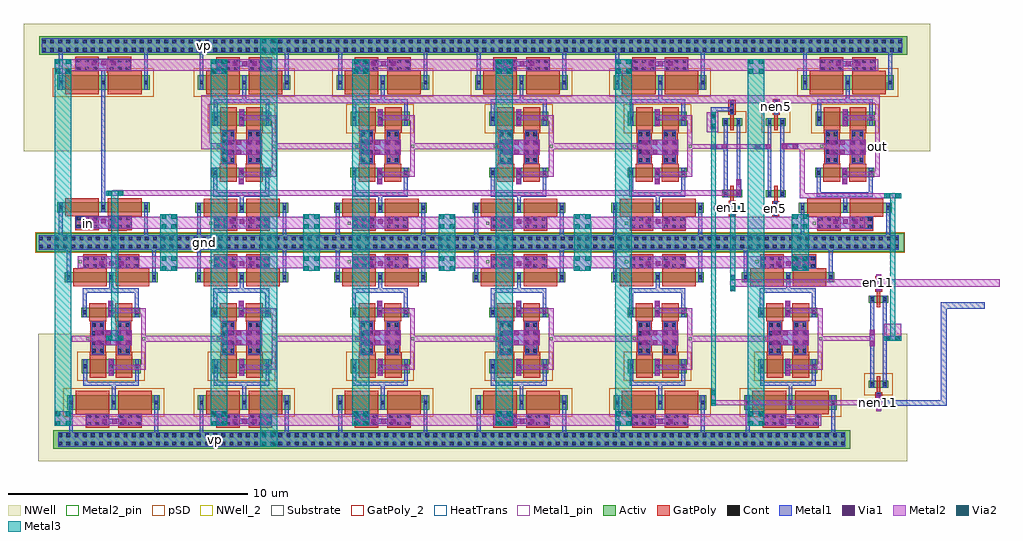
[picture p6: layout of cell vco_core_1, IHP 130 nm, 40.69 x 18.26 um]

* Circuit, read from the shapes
.subckt vco_core_1 en11 en5 gnd in nen11 nen5 out vp
XM1 vco_delay_cell_1_0/pgt in gnd gnd sg13_lv_nmos w=0.4u l=1.4u m=2
XM2 n1 in gnd gnd sg13_lv_nmos w=0.4u l=1.4u m=2
XM3 vco_delay_cell_1_74/in vco_delay_cell_1_75/in n1 gnd sg13_lv_nmos w=0.4u l=0.7u m=2
XM4 n2 in gnd gnd sg13_lv_nmos w=0.4u l=1.4u m=2
XM5 n3 in gnd gnd sg13_lv_nmos w=0.4u l=1.4u m=2
XM6 vco_delay_cell_1_4/in vco_delay_cell_1_74/in n2 gnd sg13_lv_nmos w=0.4u l=0.7u m=2
XM7 vco_delay_cell_1_73/in out n3 gnd sg13_lv_nmos w=0.4u l=0.7u m=2
XM8 n4 in gnd gnd sg13_lv_nmos w=0.4u l=1.4u m=2
XM9 n5 in gnd gnd sg13_lv_nmos w=0.4u l=1.4u m=2
XM10 vco_delay_cell_1_5/in vco_delay_cell_1_4/in n4 gnd sg13_lv_nmos w=0.4u l=0.7u m=2
XM11 vco_delay_cell_1_0/in vco_delay_cell_1_73/in n5 gnd sg13_lv_nmos w=0.4u l=0.7u m=2
XM12 n6 in gnd gnd sg13_lv_nmos w=0.4u l=1.4u m=2
XM13 n7 in gnd gnd sg13_lv_nmos w=0.4u l=1.4u m=2
XM14 vco_delay_cell_1_12/in vco_delay_cell_1_5/in n6 gnd sg13_lv_nmos w=0.4u l=0.7u m=2
XM15 vco_delay_cell_1_6/in vco_delay_cell_1_0/in n7 gnd sg13_lv_nmos w=0.4u l=0.7u m=2
XM16 n8 in gnd gnd sg13_lv_nmos w=0.4u l=1.4u m=2
XM17 n9 in gnd gnd sg13_lv_nmos w=0.4u l=1.4u m=2
XM18 vco_delay_cell_1_57/in vco_delay_cell_1_12/in n8 gnd sg13_lv_nmos w=0.4u l=0.7u m=2
XM19 vco_delay_cell_1_6/out vco_delay_cell_1_6/in n9 gnd sg13_lv_nmos w=0.4u l=0.7u m=2
XM20 vco_delay_cell_1_75/in en11 vco_delay_cell_1_6/out gnd sg13_lv_nmos w=0.3u l=0.15u
XM21 n10 in gnd gnd sg13_lv_nmos w=0.4u l=1.4u m=2
XM22 vco_delay_cell_1_57/out vco_delay_cell_1_57/in n10 gnd sg13_lv_nmos w=0.4u l=0.7u m=2
XM23 vco_delay_cell_1_9/in en5 vco_delay_cell_1_6/out gnd sg13_lv_nmos w=0.3u l=0.15u
XM24 n11 in gnd gnd sg13_lv_nmos w=0.4u l=1.4u m=2
XM25 out vco_delay_cell_1_9/in n11 gnd sg13_lv_nmos w=0.4u l=0.7u m=2
XM26 vco_delay_cell_1_9/in en11 vco_delay_cell_1_57/out gnd sg13_lv_nmos w=0.3u l=0.15u
XM27 vco_delay_cell_1_0/pgt vco_delay_cell_1_0/pgt vp vp sg13_lv_pmos w=0.6u l=1.4u m=2
XM28 n12 vco_delay_cell_1_0/pgt vp vp sg13_lv_pmos w=0.6u l=1.4u m=2
XM29 vco_delay_cell_1_74/in vco_delay_cell_1_75/in n12 vp sg13_lv_pmos w=0.6u l=0.7u m=2
XM30 n13 vco_delay_cell_1_0/pgt vp vp sg13_lv_pmos w=0.6u l=1.4u m=2
XM31 n14 vco_delay_cell_1_0/pgt vp vp sg13_lv_pmos w=0.6u l=1.4u m=2
XM32 vco_delay_cell_1_4/in vco_delay_cell_1_74/in n13 vp sg13_lv_pmos w=0.6u l=0.7u m=2
XM33 vco_delay_cell_1_73/in out n14 vp sg13_lv_pmos w=0.6u l=0.7u m=2
XM34 n15 vco_delay_cell_1_0/pgt vp vp sg13_lv_pmos w=0.6u l=1.4u m=2
XM35 n16 vco_delay_cell_1_0/pgt vp vp sg13_lv_pmos w=0.6u l=1.4u m=2
XM36 vco_delay_cell_1_5/in vco_delay_cell_1_4/in n15 vp sg13_lv_pmos w=0.6u l=0.7u m=2
XM37 vco_delay_cell_1_0/in vco_delay_cell_1_73/in n16 vp sg13_lv_pmos w=0.6u l=0.7u m=2
XM38 n17 vco_delay_cell_1_0/pgt vp vp sg13_lv_pmos w=0.6u l=1.4u m=2
XM39 n18 vco_delay_cell_1_0/pgt vp vp sg13_lv_pmos w=0.6u l=1.4u m=2
XM40 vco_delay_cell_1_12/in vco_delay_cell_1_5/in n17 vp sg13_lv_pmos w=0.6u l=0.7u m=2
XM41 vco_delay_cell_1_6/in vco_delay_cell_1_0/in n18 vp sg13_lv_pmos w=0.6u l=0.7u m=2
XM42 n19 vco_delay_cell_1_0/pgt vp vp sg13_lv_pmos w=0.6u l=1.4u m=2
XM43 n20 vco_delay_cell_1_0/pgt vp vp sg13_lv_pmos w=0.6u l=1.4u m=2
XM44 vco_delay_cell_1_57/in vco_delay_cell_1_12/in n19 vp sg13_lv_pmos w=0.6u l=0.7u m=2
XM45 vco_delay_cell_1_6/out vco_delay_cell_1_6/in n20 vp sg13_lv_pmos w=0.6u l=0.7u m=2
XM46 vco_delay_cell_1_75/in nen11 vco_delay_cell_1_6/out vp sg13_lv_pmos w=0.3u l=0.15u
XM47 n21 vco_delay_cell_1_0/pgt vp vp sg13_lv_pmos w=0.6u l=1.4u m=2
XM48 vco_delay_cell_1_57/out vco_delay_cell_1_57/in n21 vp sg13_lv_pmos w=0.6u l=0.7u m=2
XM49 vco_delay_cell_1_9/in nen5 vco_delay_cell_1_6/out vp sg13_lv_pmos w=0.3u l=0.15u
XM50 n22 vco_delay_cell_1_0/pgt vp vp sg13_lv_pmos w=0.6u l=1.4u m=2
XM51 out vco_delay_cell_1_9/in n22 vp sg13_lv_pmos w=0.6u l=0.7u m=2
XM52 vco_delay_cell_1_9/in nen11 vco_delay_cell_1_57/out vp sg13_lv_pmos w=0.3u l=0.15u
.ends

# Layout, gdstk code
from math import pi, radians
import gdstk
lib = gdstk.Library(unit=1e-6, precision=1e-09)
def R(c, l, rs):  # rectangles x0, y0, x1, y1
    for r in rs: c.add(gdstk.rectangle(r[:2], r[2:], *l))
def A(c, l, x, y, w, h, nx, ny, dx, dy):  # array of equal rectangles
    R(c, l, [(x+i*dx, y+j*dy, x+i*dx+w, y+j*dy+h) for i in range(nx) for j in range(ny)])
Activ = (1, 0)
GatPoly = (5, 0)
GatPoly_2 = (5, 2)
Cont = (6, 0)
Metal1 = (8, 0)
Metal1_pin = (8, 2)
Metal2 = (10, 0)
Metal2_pin = (10, 2)
pSD = (14, 0)
Via1 = (19, 0)
Via2 = (29, 0)
Metal3 = (30, 0)
NWell = (31, 0)
NWell_2 = (31, 2)
Substrate = (40, 0)
HeatTrans = (51, 0)

via_5 = lib.new_cell('Via$5')
R(via_5, GatPoly, [(-0.49,-0.32,0.49,0.32)])
A(via_5, Cont, -0.42, -0.25, 0.16, 0.16, 3, 2, 0.34, 0.34)
R(via_5, Metal1, [(-0.47,-0.25,0.47,0.25)])

via_1_4 = lib.new_cell('Via$1$4')
R(via_1_4, Metal1, [(-0.105,-0.555,0.105,0.555)])
R(via_1_4, Metal2, [(-0.1,-0.555,0.1,0.555)])
A(via_1_4, Via1, -0.095, -0.505, 0.19, 0.19, 1, 3, 0, 0.41)

via_2_11 = lib.new_cell('Via$2$11')
R(via_2_11, Metal1, [(-0.105,-0.35,0.105,0.35)])
R(via_2_11, Metal2, [(-0.1,-0.35,0.1,0.35)])
R(via_2_11, Via1, [(-0.095,-0.3,0.095,-0.11), (-0.095,0.11,0.095,0.3)])

via_6 = lib.new_cell('Via$6')
R(via_6, Metal1, [(-0.31,-0.76,0.31,0.76)])
R(via_6, Metal2, [(-0.305,-0.76,0.305,0.76)])
A(via_6, Via1, -0.3, -0.71, 0.19, 0.19, 1, 4, 0, 0.41)
A(via_6, Via1, 0.11, -0.71, 0.19, 0.19, 1, 4, 0, 0.41)

via_17_2 = lib.new_cell('Via$17$2')
R(via_17_2, GatPoly, [(-0.32,-0.32,0.32,0.32)])
R(via_17_2, Cont, [(-0.25,-0.25,-0.09,-0.09), (0.09,-0.25,0.25,-0.09), (-0.25,0.09,-0.09,0.25), (0.09,0.09,0.25,0.25)])
R(via_17_2, Metal1, [(-0.3,-0.25,0.3,0.25)])

ptap1_5 = lib.new_cell('ptap1$5')
R(ptap1_5, Activ, [(0,0,5,0.78)])
A(ptap1_5, Cont, 0.21, 0.14, 0.16, 0.16, 14, 2, 0.34, 0.34)
R(ptap1_5, Metal1, [(0.21,0.09,4.79,0.69), (0.21,0.14,4.79,0.64)])
R(ptap1_5, Metal1_pin, [(0.21,0.14,4.79,0.64)])
R(ptap1_5, pSD, [(-0.03,-0.03,5.03,0.81)])
R(ptap1_5, Substrate, [(0,0,5,0.78)])
ptap1_5.add(gdstk.Label('sub!', (2.5,0.01), layer=63, texttype=0))
ptap1_5.add(gdstk.Label('sub!', (2.5,0.01), layer=40, texttype=0))

ntap1_3 = lib.new_cell('ntap1$3')
R(ntap1_3, Activ, [(0,0,5,0.78)])
A(ntap1_3, Cont, 0.21, 0.14, 0.16, 0.16, 14, 2, 0.34, 0.34)
R(ntap1_3, Metal1, [(0.21,0.09,4.79,0.69)])
R(ntap1_3, Metal1_pin, [(0.21,0.09,4.79,0.69), (0.21,0.14,4.79,0.64)])
R(ntap1_3, NWell, [(-0.24,-0.24,5.24,1.02), (0,0,5,0.78)])
R(ntap1_3, NWell_2, [(0,0,5,0.78)])
ntap1_3.add(gdstk.Label('well', (2.5,0.01), layer=63, texttype=0))
ntap1_3.add(gdstk.Label('well', (2.5,0.01), layer=31, texttype=0))

nmos_2_1_1 = lib.new_cell('nmos$2$1$1')
A(nmos_2_1_1, Activ, 0, 0, 0.3, 0.3, 3, 1, 1.78, 0)
R(nmos_2_1_1, Activ, [(0,0,3.86,0.4)])
R(nmos_2_1_1, GatPoly, [(0.34,-0.18,1.74,0.58), (2.12,-0.18,3.52,0.58)])
R(nmos_2_1_1, GatPoly_2, [(0.34,-0.18,1.74,0.58)])
A(nmos_2_1_1, Cont, 0.07, 0.12, 0.16, 0.16, 3, 1, 1.78, 0)
A(nmos_2_1_1, Metal1, 0.07, 0, 0.16, 0.4, 3, 1, 1.78, 0)
R(nmos_2_1_1, Metal1_pin, [(0.07,0,0.23,0.4), (1.85,0,2.01,0.4)])
R(nmos_2_1_1, HeatTrans, [(0.34,-0.18,1.74,0.58), (2.12,-0.18,3.52,0.58)])
nmos_2_1_1.add(gdstk.Label('nmos', (1.04,0.2), layer=63, texttype=0))
nmos_2_1_1.add(gdstk.Label('nmos', (1.04,0.2), layer=51, texttype=0))
nmos_2_1_1.add(gdstk.Label('nmos', (2.82,0.2), layer=51, texttype=0))

nmos_3_6 = lib.new_cell('nmos$3$6')
A(nmos_3_6, Activ, 0, 0, 0.3, 0.3, 3, 1, 1.08, 0)
R(nmos_3_6, Activ, [(0,0,2.46,0.4)])
R(nmos_3_6, GatPoly, [(0.34,-0.18,1.04,0.58), (1.42,-0.18,2.12,0.58)])
R(nmos_3_6, GatPoly_2, [(0.34,-0.18,1.04,0.58)])
A(nmos_3_6, Cont, 0.07, 0.12, 0.16, 0.16, 3, 1, 1.08, 0)
A(nmos_3_6, Metal1, 0.07, 0, 0.16, 0.4, 3, 1, 1.08, 0)
R(nmos_3_6, Metal1_pin, [(0.07,0,0.23,0.4), (1.15,0,1.31,0.4)])
R(nmos_3_6, HeatTrans, [(0.34,-0.18,1.04,0.58), (1.42,-0.18,2.12,0.58)])
nmos_3_6.add(gdstk.Label('nmos', (0.69,0.2), layer=63, texttype=0))
nmos_3_6.add(gdstk.Label('nmos', (0.69,0.2), layer=51, texttype=0))
nmos_3_6.add(gdstk.Label('nmos', (1.77,0.2), layer=51, texttype=0))

pmos_3_7 = lib.new_cell('pmos$3$7')
A(pmos_3_7, Activ, 0, 0, 0.3, 0.3, 3, 1, 1.78, 0)
R(pmos_3_7, Activ, [(0,0,3.86,0.6)])
R(pmos_3_7, GatPoly, [(0.34,-0.18,1.74,0.78), (0.34,-0.18,1.74,0.78), (2.12,-0.18,3.52,0.78)])
A(pmos_3_7, Cont, 0.07, 0.22, 0.16, 0.16, 3, 1, 1.78, 0)
R(pmos_3_7, Metal1, [(0.07,0,0.23,0.6), (0.07,0,0.23,0.6), (1.85,0,2.01,0.6), (1.85,0,2.01,0.6), (3.63,0,3.79,0.6)])
R(pmos_3_7, pSD, [(-0.18,-0.3,4.04,0.9)])
R(pmos_3_7, NWell, [(-0.31,-0.31,4.17,0.91)])
R(pmos_3_7, Substrate, [(3.56,0,3.86,0.3)])
R(pmos_3_7, HeatTrans, [(0.34,-0.18,1.74,0.78), (2.12,-0.18,3.52,0.78)])
pmos_3_7.add(gdstk.Label('pmos', (1.04,0.3), layer=63, texttype=0))
pmos_3_7.add(gdstk.Label('pmos', (1.04,0.3), layer=51, texttype=0))
pmos_3_7.add(gdstk.Label('pmos', (2.82,0.3), layer=51, texttype=0))

pmos_2_1 = lib.new_cell('pmos$2$1')
A(pmos_2_1, Activ, 0, 0, 0.3, 0.3, 3, 1, 1.08, 0)
R(pmos_2_1, Activ, [(0,0,2.46,0.6)])
R(pmos_2_1, GatPoly, [(0.34,-0.18,1.04,0.78), (0.34,-0.18,1.04,0.78), (1.42,-0.18,2.12,0.78)])
A(pmos_2_1, Cont, 0.07, 0.22, 0.16, 0.16, 3, 1, 1.08, 0)
R(pmos_2_1, Metal1, [(0.07,0,0.23,0.6), (0.07,0,0.23,0.6), (1.15,0,1.31,0.6), (1.15,0,1.31,0.6), (2.23,0,2.39,0.6)])
R(pmos_2_1, pSD, [(-0.18,-0.3,2.64,0.9)])
R(pmos_2_1, NWell, [(-0.31,-0.31,2.77,0.91)])
R(pmos_2_1, Substrate, [(2.16,0,2.46,0.3)])
R(pmos_2_1, HeatTrans, [(0.34,-0.18,1.04,0.78), (1.42,-0.18,2.12,0.78)])
pmos_2_1.add(gdstk.Label('pmos', (0.69,0.3), layer=63, texttype=0))
pmos_2_1.add(gdstk.Label('pmos', (0.69,0.3), layer=51, texttype=0))
pmos_2_1.add(gdstk.Label('pmos', (1.77,0.3), layer=51, texttype=0))

vco_delay_cell_1 = lib.new_cell('vco_delay_cell_1')
R(vco_delay_cell_1, GatPoly, [(-0.14,-3.32,-0.07,-2.75), (-0.19,-0.09,0.45,0.25), (0.88,-0.03,1.52,0.41), (-0.21,0.78,0.49,0.86), (0.87,0.78,1.57,0.86), (-0.02,3.26,0.05,3.83)])
R(vco_delay_cell_1, Metal1, [(2.4,-4.12,2.55,-3.62), (2.39,-3.62,2.55,-2.57), (-1.17,-3.6,-1.01,-2.57), (0.42,-3.25,0.94,-2.75), (0.54,-3.25,0.88,-2.75), (0.61,-2.17,0.77,-1.89), (-0.49,-1.92,0.04,-1.72), (-0.01,-1.92,1.55,-1.72), (1.55,-1.92,1.83,-1.72), (1.67,-1.78,1.83,-1.42), (-0.49,-1.73,-0.33,-1.42), (1.67,-1.52,1.83,-1.3), (-0.49,-1.51,-0.33,-1.33), (1.67,-1.48,1.83,-1.11), (-0.49,-1.38,-0.33,-1.11), (0.95,-0.35,1.45,0.13), (-0.12,-0.34,0.38,0.13), (-0.12,-0.04,0.13,0.23), (1.24,0.09,1.45,0.23), (-0.48,1.63,-0.32,2.04), (1.68,1.63,1.84,2.05), (-0.48,1.99,0.03,2.15), (0,1.99,1.56,2.15), (1.56,1.99,1.84,2.15), (0.71,2.05,0.87,2.5), (0.71,2.38,0.87,2.55), (-1.07,3.15,-0.91,4.02), (2.49,3.15,2.65,4.02), (0.98,3.33,1.1,3.83), (1.1,3.33,1.44,3.83), (-1.07,4.02,-0.91,4.26), (2.49,4.02,2.65,4.26)])
R(vco_delay_cell_1, Metal1_pin, [(0.705,-3.875,0.835,-3.745), (0.335,4.285,0.465,4.415)])
R(vco_delay_cell_1, Metal2, [(-0.71,-3.25,-0.12,-2.75), (-0.12,-3.25,1.5,-2.75), (0.7,-1.07,2,-0.87), (1.93,-1.07,2.13,0.57), (1.93,-0.16,2.13,1.48), (-0.96,0.07,1.37,0.32), (0.74,1.28,2.04,1.48), (-0.14,3.33,0.45,3.83), (0.44,3.33,2.06,3.83)])
R(vco_delay_cell_1, Metal2_pin, [(-0.675,-3.075,-0.545,-2.945), (1.975,0.13,2.105,0.26), (-0.355,0.135,-0.225,0.265), (-0.055,3.525,0.075,3.655)])
R(vco_delay_cell_1, NWell, [(-2.36,-0.01,4.24,0.3), (-1.56,0.29,2.98,5.31), (-2.36,0.3,4.24,5.3)])
vco_delay_cell_1.add(gdstk.Reference(via_5, (0.11,3.58)))
vco_delay_cell_1.add(gdstk.Reference(via_5, (1.47,3.58)))
vco_delay_cell_1.add(gdstk.Reference(via_1_4, (0.815,3.64), rotation=pi/2))
vco_delay_cell_1.add(gdstk.Reference(via_1_4, (0.695,-2.94), rotation=pi/2))
vco_delay_cell_1.add(gdstk.Reference(via_5, (1.37,-3)))
vco_delay_cell_1.add(gdstk.Reference(via_5, (0.01,-3)))
vco_delay_cell_1.add(gdstk.Reference(via_2_11, (0.67,-1.05)))
vco_delay_cell_1.add(gdstk.Reference(via_2_11, (0.68,1.38)))
vco_delay_cell_1.add(gdstk.Reference(via_6, (0.785,0.15), rotation=pi/2))
vco_delay_cell_1.add(gdstk.Reference(via_17_2, (1.2,-0.21), rotation=pi/2))
vco_delay_cell_1.add(gdstk.Reference(via_17_2, (0.13,-0.21), rotation=pi/2))
vco_delay_cell_1.add(gdstk.Reference(via_17_2, (1.2,0.53), rotation=pi/2))
vco_delay_cell_1.add(gdstk.Reference(via_17_2, (0.13,0.53), rotation=pi/2))
vco_delay_cell_1.add(gdstk.Reference(ptap1_5, (-1.86,-4.21)))
vco_delay_cell_1.add(gdstk.Reference(ntap1_3, (-1.73,4)))
vco_delay_cell_1.add(gdstk.Reference(nmos_2_1_1, (-1.24,-2.57)))
vco_delay_cell_1.add(gdstk.Reference(nmos_3_6, (-0.56,-1.11)))
vco_delay_cell_1.add(gdstk.Reference(pmos_3_7, (-1.14,2.55)))
vco_delay_cell_1.add(gdstk.Reference(pmos_2_1, (-0.55,1.04)))
vco_delay_cell_1.add(gdstk.Label('pgt', (0.01,3.59), layer=10, texttype=25))
vco_delay_cell_1.add(gdstk.Label('ngt', (-0.61,-3.01), layer=10, texttype=25))
vco_delay_cell_1.add(gdstk.Label('out', (2.04,0.18), layer=10, texttype=25))
vco_delay_cell_1.add(gdstk.Label('in', (-0.29,0.2), layer=10, texttype=25))
vco_delay_cell_1.add(gdstk.Label('vp', (0.84,4.35), layer=8, texttype=25))
vco_delay_cell_1.add(gdstk.Label('gnd', (0.77,-3.81), layer=8, texttype=25))

ptap1_2 = lib.new_cell('ptap1$2')
R(ptap1_2, Activ, [(0,0,2,0.78)])
A(ptap1_2, Cont, 0.07, 0.14, 0.16, 0.16, 6, 2, 0.34, 0.34)
R(ptap1_2, Metal1, [(0.07,0.09,1.93,0.69), (0.07,0.14,1.93,0.64)])
R(ptap1_2, Metal1_pin, [(0.07,0.14,1.93,0.64)])
R(ptap1_2, pSD, [(-0.03,-0.03,2.03,0.81)])
R(ptap1_2, Substrate, [(0,0,2,0.78)])
ptap1_2.add(gdstk.Label('sub!', (1,0.01), layer=63, texttype=0))
ptap1_2.add(gdstk.Label('sub!', (1,0.01), layer=40, texttype=0))

ntap1_2_7 = lib.new_cell('ntap1$2$7')
R(ntap1_2_7, Activ, [(0,0,2,0.78)])
A(ntap1_2_7, Cont, 0.07, 0.14, 0.16, 0.16, 6, 2, 0.34, 0.34)
R(ntap1_2_7, Metal1, [(0.07,0.09,1.93,0.69)])
R(ntap1_2_7, Metal1_pin, [(0.07,0.09,1.93,0.69), (0.07,0.14,1.93,0.64)])
R(ntap1_2_7, NWell, [(-0.24,-0.24,2.24,1.02), (0,0,2,0.78)])
R(ntap1_2_7, NWell_2, [(0,0,2,0.78)])
ntap1_2_7.add(gdstk.Label('well', (1,0.01), layer=63, texttype=0))
ntap1_2_7.add(gdstk.Label('well', (1,0.01), layer=31, texttype=0))

ptap1 = lib.new_cell('ptap1')
R(ptap1, Activ, [(0,0,6.5,0.78)])
A(ptap1, Cont, 0.11, 0.14, 0.16, 0.16, 19, 2, 0.34, 0.34)
R(ptap1, Metal1, [(0.11,0.09,6.39,0.69), (0.11,0.14,6.39,0.64)])
R(ptap1, Metal1_pin, [(0.11,0.14,6.39,0.64)])
R(ptap1, pSD, [(-0.03,-0.03,6.53,0.81)])
R(ptap1, Substrate, [(0,0,6.5,0.78)])
ptap1.add(gdstk.Label('sub!', (3.25,0.01), layer=63, texttype=0))
ptap1.add(gdstk.Label('sub!', (3.25,0.01), layer=40, texttype=0))

pmos_7_2 = lib.new_cell('pmos$7$2')
A(pmos_7_2, Activ, 0, 0, 0.3, 0.3, 3, 1, 1.78, 0)
R(pmos_7_2, Activ, [(0,0,3.86,0.6)])
R(pmos_7_2, GatPoly, [(0.34,-0.18,1.74,0.78), (0.34,-0.18,1.74,0.78), (2.12,-0.18,3.52,0.78)])
A(pmos_7_2, Cont, 0.07, 0.22, 0.16, 0.16, 3, 1, 1.78, 0)
R(pmos_7_2, Metal1, [(0.07,0,0.23,0.6), (0.07,0,0.23,0.6), (1.85,0,2.01,0.6), (1.85,0,2.01,0.6), (3.63,0,3.79,0.6)])
R(pmos_7_2, pSD, [(-0.18,-0.3,4.04,0.9)])
R(pmos_7_2, NWell, [(-0.31,-0.31,4.17,0.91)])
R(pmos_7_2, HeatTrans, [(0.34,-0.18,1.74,0.78), (2.12,-0.18,3.52,0.78)])
pmos_7_2.add(gdstk.Label('pmos', (1.04,0.3), layer=63, texttype=0))
pmos_7_2.add(gdstk.Label('pmos', (1.04,0.3), layer=51, texttype=0))
pmos_7_2.add(gdstk.Label('pmos', (2.82,0.3), layer=51, texttype=0))

ntap1 = lib.new_cell('ntap1')
R(ntap1, Activ, [(0,0,6.5,0.78)])
A(ntap1, Cont, 0.11, 0.14, 0.16, 0.16, 19, 2, 0.34, 0.34)
R(ntap1, Metal1, [(0.11,0.09,6.39,0.69)])
R(ntap1, Metal1_pin, [(0.11,0.09,6.39,0.69), (0.11,0.14,6.39,0.64)])
R(ntap1, NWell, [(-0.24,-0.24,6.74,1.02), (0,0,6.5,0.78)])
R(ntap1, NWell_2, [(0,0,6.5,0.78)])
ntap1.add(gdstk.Label('well', (3.25,0.01), layer=63, texttype=0))
ntap1.add(gdstk.Label('well', (3.25,0.01), layer=31, texttype=0))

nmos_7_3 = lib.new_cell('nmos$7$3')
A(nmos_7_3, Activ, 0, 0, 0.3, 0.3, 3, 1, 1.78, 0)
R(nmos_7_3, Activ, [(0,0,3.86,0.4)])
R(nmos_7_3, GatPoly, [(0.34,-0.18,1.74,0.58), (2.12,-0.18,3.52,0.58)])
R(nmos_7_3, GatPoly_2, [(0.34,-0.18,1.74,0.58)])
A(nmos_7_3, Cont, 0.07, 0.12, 0.16, 0.16, 3, 1, 1.78, 0)
A(nmos_7_3, Metal1, 0.07, 0, 0.16, 0.4, 3, 1, 1.78, 0)
R(nmos_7_3, Metal1_pin, [(0.07,0,0.23,0.4), (1.85,0,2.01,0.4)])
R(nmos_7_3, HeatTrans, [(0.34,-0.18,1.74,0.58), (2.12,-0.18,3.52,0.58)])
nmos_7_3.add(gdstk.Label('nmos', (1.04,0.2), layer=63, texttype=0))
nmos_7_3.add(gdstk.Label('nmos', (1.04,0.2), layer=51, texttype=0))
nmos_7_3.add(gdstk.Label('nmos', (2.82,0.2), layer=51, texttype=0))

via_4 = lib.new_cell('Via$4')
R(via_4, Metal1, [(-0.105,-0.555,0.105,0.555)])
R(via_4, Metal2, [(-0.1,-0.555,0.1,0.555)])
A(via_4, Via1, -0.095, -0.505, 0.19, 0.19, 1, 3, 0, 0.41)

via_8 = lib.new_cell('Via$8')
R(via_8, GatPoly, [(-0.49,-0.32,0.49,0.32)])
A(via_8, Cont, -0.42, -0.25, 0.16, 0.16, 3, 2, 0.34, 0.34)
R(via_8, Metal1, [(-0.47,-0.25,0.47,0.25)])

via_9 = lib.new_cell('Via$9')
R(via_9, Metal2, [(-0.35,-0.305,0.35,0.305)])
R(via_9, Via2, [(-0.3,-0.3,-0.11,-0.11), (0.11,-0.3,0.3,-0.11), (-0.3,0.11,-0.11,0.3), (0.11,0.11,0.3,0.3)])
R(via_9, Metal3, [(-0.35,-0.305,0.35,0.305)])

nmos_21 = lib.new_cell('nmos$21')
R(nmos_21, Activ, [(0,0,0.3,0.3), (0,0,0.83,0.3), (0.53,0,0.83,0.3)])
R(nmos_21, GatPoly, [(0.34,-0.18,0.49,0.48)])
R(nmos_21, GatPoly_2, [(0.34,-0.18,0.49,0.48)])
R(nmos_21, Cont, [(0.07,0.07,0.23,0.23), (0.6,0.07,0.76,0.23)])
R(nmos_21, Metal1, [(0.07,0,0.23,0.3), (0.6,0,0.76,0.3)])
R(nmos_21, Metal1_pin, [(0.07,0,0.23,0.3), (0.6,0,0.76,0.3)])
R(nmos_21, HeatTrans, [(0.34,-0.18,0.49,0.48)])
nmos_21.add(gdstk.Label('nmos', (0.415,0.15), layer=63, texttype=0))
nmos_21.add(gdstk.Label('nmos', (0.415,0.15), layer=51, texttype=0))

pmos = lib.new_cell('pmos')
R(pmos, Activ, [(0,0,0.3,0.3), (0,0,0.83,0.3), (0.53,0,0.83,0.3)])
R(pmos, GatPoly, [(0.34,-0.18,0.49,0.48), (0.34,-0.18,0.49,0.48)])
R(pmos, Cont, [(0.07,0.07,0.23,0.23), (0.6,0.07,0.76,0.23)])
R(pmos, Metal1, [(0.07,0,0.23,0.3), (0.07,0,0.23,0.3), (0.6,0,0.76,0.3), (0.6,0,0.76,0.3)])
R(pmos, pSD, [(-0.18,-0.3,1.01,0.6)])
R(pmos, NWell, [(-0.31,-0.31,1.14,0.61)])
R(pmos, HeatTrans, [(0.34,-0.18,0.49,0.48)])
pmos.add(gdstk.Label('pmos', (0.415,0.15), layer=63, texttype=0))
pmos.add(gdstk.Label('pmos', (0.415,0.15), layer=51, texttype=0))

via_11_4 = lib.new_cell('Via$11$4')
R(via_11_4, Metal1, [(-0.35,-0.105,0.35,0.105)])
R(via_11_4, Metal2, [(-0.35,-0.1,0.35,0.1)])
R(via_11_4, Via1, [(-0.3,-0.095,-0.11,0.095), (0.11,-0.095,0.3,0.095)])

via_13_6 = lib.new_cell('Via$13$6')
R(via_13_6, GatPoly, [(-0.15,-0.32,0.15,0.32)])
R(via_13_6, Cont, [(-0.08,-0.25,0.08,-0.09), (-0.08,0.09,0.08,0.25)])
R(via_13_6, Metal1, [(-0.08,-0.3,0.08,0.3)])

via_76 = lib.new_cell('Via$76')
R(via_76, Metal2, [(-0.35,-0.1,0.35,0.1)])
R(via_76, Via2, [(-0.3,-0.095,-0.11,0.095), (0.11,-0.095,0.3,0.095)])
R(via_76, Metal3, [(-0.35,-0.1,0.35,0.1)])

ntap1_6_6 = lib.new_cell('ntap1$6$6')
R(ntap1_6_6, Activ, [(0,0,5,0.78)])
A(ntap1_6_6, Cont, 0.21, 0.14, 0.16, 0.16, 14, 2, 0.34, 0.34)
R(ntap1_6_6, Metal1, [(0.21,0.09,4.79,0.69)])
R(ntap1_6_6, Metal1_pin, [(0.21,0.09,4.79,0.69), (0.21,0.14,4.79,0.64)])
R(ntap1_6_6, NWell, [(-0.24,-0.24,5.24,1.02), (0,0,5,0.78)])
R(ntap1_6_6, NWell_2, [(0,0,5,0.78)])
ntap1_6_6.add(gdstk.Label('well', (2.5,0.01), layer=63, texttype=0))
ntap1_6_6.add(gdstk.Label('well', (2.5,0.01), layer=31, texttype=0))

via_12_13 = lib.new_cell('Via$12$13')
R(via_12_13, Metal1, [(-0.105,-0.35,0.105,0.35)])
R(via_12_13, Metal2, [(-0.1,-0.35,0.1,0.35)])
R(via_12_13, Via1, [(-0.095,-0.3,0.095,-0.11), (-0.095,0.11,0.095,0.3)])

via_16_12 = lib.new_cell('Via$16$12')
R(via_16_12, Metal1, [(-0.35,-0.31,0.35,0.31)])
R(via_16_12, Metal2, [(-0.35,-0.305,0.35,0.305)])
R(via_16_12, Via1, [(-0.3,-0.3,-0.11,-0.11), (0.11,-0.3,0.3,-0.11), (-0.3,0.11,-0.11,0.3), (0.11,0.11,0.3,0.3)])

vco_core_1 = lib.new_cell('vco_core_1')
R(vco_core_1, GatPoly, [(-12.085,-3.32,-11.385,-2.75), (-11.525,-3.32,-11.315,-2.75), (-13.11,3.26,-13.04,3.83), (-12.15,3.26,-11.45,3.83), (-11.58,3.3,-11.38,3.9), (-13.2,3.33,-13.03,3.9)])
R(vco_core_1, Metal1, [(19.97,-10.635,22.88,-10.405), (22.625,-10.635,22.88,-6.305), (19.68,-9.73,19.84,-6.19), (20.21,-9.73,20.37,-6.19), (22.625,-6.58,24.46,-6.305), (-14.15,-3.82,-13.99,-2.47), (-10.59,-3.79,-10.43,-2.46), (-12.43,-3.25,-12.09,-2.75), (-12.58,-3.23,-12.075,-2.73), (-12.37,-2.55,-12.21,1.37), (13.58,-1.88,13.74,1.2), (15.93,-1.86,16.09,1.2), (15.4,-1.835,15.56,1.2), (14.11,-1.83,14.27,1.2), (-12.37,-1.25,-12.21,2.67), (13.035,1.55,13.245,1.825), (13.13,1.645,13.94,1.825), (-14.15,3.15,-13.99,4.54), (-12.37,3.15,-12.21,3.5), (-10.59,3.15,-10.43,4.3), (-12.46,3.33,-12.39,3.535), (-12.43,3.33,-12.09,3.83), (-12.68,3.35,-12.08,3.85), (-12.47,3.71,-12.4,3.83)])
R(vco_core_1, Metal1_pin, [(-7.675,-12.115,-7.545,-11.985), (19.975,-10.545,20.105,-10.415), (19.975,-5.545,20.105,-5.415), (-8.135,-3.905,-8.005,-3.775), (15.675,-2.475,15.805,-2.345), (13.865,-2.425,13.995,-2.295), (15.695,1.805,15.825,1.935), (-8.135,4.335,-8.005,4.465)])
R(vco_core_1, Metal2, [(-13.97,-11.47,-12.51,-10.97), (-11.65,-11.47,15.57,-10.97), (13.19,-10.61,20.08,-10.39), (-10.64,-7.96,-8.17,-7.71), (-5.17,-7.96,-2.39,-7.71), (0.6,-7.96,3.39,-7.71), (6.37,-7.96,9.41,-7.71), (12.14,-7.96,14.7,-7.71), (17.545,-7.92,19.75,-7.72), (20.27,-7.72,20.97,-7.21), (14.015,-5.675,25.07,-5.355), (-12.3,-4.89,15.11,-4.39), (-13.09,-3.25,-11.47,-2.75), (-11.88,-3.25,-10.55,-2.75), (-10.55,-3.25,19.3,-2.75), (-6.2,-3.25,-2.27,-2.75), (-0.53,-3.25,3.89,-2.75), (5.07,-3.25,9.67,-2.75), (10.9,-3.25,17.535,-2.75), (13.16,-2.485,13.565,-2.285), (17.18,-1.97,20.97,-1.77), (-8.21,0.07,-7.85,2.31), (-5.17,0.07,-2.04,0.32), (0.675,0.07,3.66,0.32), (6.39,0.07,9.23,0.32), (15.99,0.07,17.42,0.32), (12.105,0.08,14.94,0.28), (12.865,0.775,13.335,1.615), (19.88,1.48,20.08,2.31), (-8.21,1.99,20.08,2.31), (-14.08,3.33,-13.15,3.83), (-13.26,3.33,-13.02,3.83), (-13.09,3.33,-11.47,3.83), (-11.61,3.33,18.35,3.83), (-6.17,3.33,-2.19,3.83), (-0.27,3.33,3.61,3.83), (5.32,3.33,9.95,3.83), (10.88,3.33,19.97,3.83)])
R(vco_core_1, Metal2_pin, [(-12.985,-3.085,-12.855,-2.955), (-13.045,-3.065,-12.915,-2.935), (19.925,0.125,20.055,0.255)])
A(vco_core_1, Metal3, -3.96, -4.81, 0.7, 1.87, 3, 1, 5.65, 0)
R(vco_core_1, Metal3, [(-5.745,-11.715,-5.045,4.14), (-14.32,-10.965,-13.62,3.46), (-7.82,-10.965,-7.12,3.46), (-1.91,-10.965,-1.21,3.46), (4.07,-10.965,4.77,3.46), (9.04,-10.965,9.74,3.46), (14.57,-10.965,15.27,3.46), (13.045,-10.39,13.245,1.14), (13.85,-5.575,14.05,-2.285), (-9.91,-4.81,-9.21,-2.94), (16.41,-4.81,17.11,-2.94)])
R(vco_core_1, NWell, [(19.47,-12.94,21.22,-7.63), (-15.62,-0.01,-9.91,5.3), (-14.455,-0.01,-10.705,5.3), (-12.9,-0.01,21.4,5.3), (13.45,-0.01,15.59,5.3)])
vco_core_1.add(gdstk.FlexPath([(14.25,-1.76),(-11.93,-1.76)], 0.24, ends="flush", simple_path=True, layer=10, datatype=0))  # Metal2
vco_core_1.add(gdstk.FlexPath([(17.18,-1.87),(16.85,-1.87),(16.85,0.17),(16.89,0.17)], 0.2, ends="flush", simple_path=True, layer=10, datatype=0))  # Metal2
vco_core_1.add(gdstk.FlexPath([(-11.81,-1.77),(-11.81,-7.81)], 0.3, ends="flush", simple_path=True, layer=30, datatype=0))  # Metal3
vco_core_1.add(gdstk.FlexPath([(20.62,-1.87),(20.62,-7.82),(20.62,-7.82)], 0.2, ends="flush", simple_path=True, layer=30, datatype=0))  # Metal3
vco_core_1.add(gdstk.Reference(vco_delay_cell_1, (4.35,0)))
vco_core_1.add(gdstk.Reference(vco_delay_cell_1, (-7.21,0)))
vco_core_1.add(gdstk.Reference(ptap1_2, (-10.29,-4.21)))
vco_core_1.add(gdstk.Reference(ntap1_2_7, (-4.72,4)))
vco_core_1.add(gdstk.Reference(vco_delay_cell_1, (-1.43,-7.64), x_reflection=True))
vco_core_1.add(gdstk.Reference(vco_delay_cell_1, (4.35,-7.64), x_reflection=True))
vco_core_1.add(gdstk.Reference(vco_delay_cell_1, (10.13,0)))
vco_core_1.add(gdstk.Reference(ptap1_2, (-4.51,-4.21)))
vco_core_1.add(gdstk.Reference(ntap1_2_7, (1.06,4)))
vco_core_1.add(gdstk.Reference(vco_delay_cell_1, (17.95,0)))
vco_core_1.add(gdstk.Reference(ptap1_2, (1.27,-4.21)))
vco_core_1.add(gdstk.Reference(ntap1_2_7, (6.84,4)))
vco_core_1.add(gdstk.Reference(vco_delay_cell_1, (10.13,-7.64), x_reflection=True))
vco_core_1.add(gdstk.Reference(ptap1_2, (12.15,-4.21)))
vco_core_1.add(gdstk.Reference(ptap1_2, (6.71,-4.21)))
vco_core_1.add(gdstk.Reference(ptap1, (-15.09,-4.21)))
vco_core_1.add(gdstk.Reference(pmos_7_2, (-14.22,2.55)))
vco_core_1.add(gdstk.Reference(ntap1, (-14.96,4)))
vco_core_1.add(gdstk.Reference(nmos_7_3, (-14.22,-2.55)))
vco_core_1.add(gdstk.Reference(via_4, (-12.28,-2.92), rotation=pi/2))
vco_core_1.add(gdstk.Reference(via_8, (-11.605,-2.98)))
vco_core_1.add(gdstk.Reference(via_8, (-12.975,-2.98)))
vco_core_1.add(gdstk.Reference(via_4, (-12.28,3.66), rotation=pi/2))
vco_core_1.add(gdstk.Reference(via_8, (-11.61,3.6)))
vco_core_1.add(gdstk.Reference(via_8, (-12.97,3.6)))
vco_core_1.add(gdstk.Reference(via_9, (-13.97,3.525)))
vco_core_1.add(gdstk.Reference(nmos_21, (13.51,-1.93)))
vco_core_1.add(gdstk.Reference(pmos, (15.33,1.05)))
vco_core_1.add(gdstk.Reference(via_11_4, (16.34,0.18)))
vco_core_1.add(gdstk.Reference(via_11_4, (13.39,0.18)))
vco_core_1.add(gdstk.Reference(via_11_4, (15.21,0.18)))
vco_core_1.add(gdstk.Reference(via_13_6, (13.925,-2.4)))
vco_core_1.add(gdstk.Reference(via_13_6, (13.915,1.82)))
vco_core_1.add(gdstk.Reference(via_13_6, (15.76,1.83)))
vco_core_1.add(gdstk.Reference(via_11_4, (14.19,-1.53), rotation=pi/2))
vco_core_1.add(gdstk.Reference(nmos_21, (19.61,-6.04), x_reflection=True))
vco_core_1.add(gdstk.Reference(via_76, (-11.81,-7.81)))
vco_core_1.add(gdstk.Reference(via_76, (-11.81,-1.77)))
vco_core_1.add(gdstk.Reference(pmos, (19.61,-9.58), x_reflection=True))
vco_core_1.add(gdstk.Reference(via_76, (20.62,-7.82)))
vco_core_1.add(gdstk.Reference(via_13_6, (20.04,-5.545), x_reflection=True))
vco_core_1.add(gdstk.Reference(via_13_6, (20.04,-10.375), x_reflection=True))
vco_core_1.add(gdstk.Reference(ntap1_2_7, (-4.72,-12.42)))
vco_core_1.add(gdstk.Reference(ntap1_2_7, (-10.16,-12.42)))
vco_core_1.add(gdstk.Reference(ntap1_2_7, (1.06,-12.42)))
vco_core_1.add(gdstk.Reference(ntap1_2_7, (6.84,-12.42)))
vco_core_1.add(gdstk.Reference(ntap1_2_7, (12.62,-12.42)))
vco_core_1.add(gdstk.Reference(via_11_4, (20.62,-7.82)))
vco_core_1.add(gdstk.Reference(via_76, (20.62,-1.87)))
vco_core_1.add(gdstk.Reference(via_9, (-9.56,-4.7)))
vco_core_1.add(gdstk.Reference(via_9, (-9.56,-2.94)))
vco_core_1.add(gdstk.Reference(via_9, (-3.61,-4.7)))
vco_core_1.add(gdstk.Reference(via_9, (-3.61,-2.94)))
vco_core_1.add(gdstk.Reference(via_9, (2.04,-4.7)))
vco_core_1.add(gdstk.Reference(via_9, (2.04,-2.94)))
vco_core_1.add(gdstk.Reference(via_9, (7.68,-4.7)))
vco_core_1.add(gdstk.Reference(via_9, (7.68,-2.94)))
vco_core_1.add(gdstk.Reference(vco_delay_cell_1, (15.57,-7.64), x_reflection=True))
vco_core_1.add(gdstk.Reference(via_9, (16.76,-4.7)))
vco_core_1.add(gdstk.Reference(via_9, (16.76,-2.94)))
vco_core_1.add(gdstk.Reference(via_9, (-13.97,-11.165)))
vco_core_1.add(gdstk.Reference(via_9, (-7.47,3.525)))
vco_core_1.add(gdstk.Reference(via_9, (-7.47,-11.165)))
vco_core_1.add(gdstk.Reference(via_9, (-1.56,3.525)))
vco_core_1.add(gdstk.Reference(via_9, (-1.56,-11.165)))
vco_core_1.add(gdstk.Reference(via_9, (4.42,3.525)))
vco_core_1.add(gdstk.Reference(via_9, (4.42,-11.165)))
vco_core_1.add(gdstk.Reference(via_9, (9.39,3.525)))
vco_core_1.add(gdstk.Reference(via_9, (9.39,-11.165)))
vco_core_1.add(gdstk.Reference(via_9, (14.92,3.525)))
vco_core_1.add(gdstk.Reference(via_9, (14.92,-11.165)))
vco_core_1.add(gdstk.Reference(ntap1_6_6, (12.14,4)))
vco_core_1.add(gdstk.Reference(via_12_13, (19.76,-7.8)))
vco_core_1.add(gdstk.Reference(vco_delay_cell_1, (-1.43,0)))
vco_core_1.add(gdstk.Reference(vco_delay_cell_1, (-7.21,-7.64), x_reflection=True))
vco_core_1.add(gdstk.Reference(vco_delay_cell_1, (-12.65,-7.64), x_reflection=True))
vco_core_1.add(gdstk.Reference(via_13_6, (15.745,-2.41)))
vco_core_1.add(gdstk.Reference(nmos_21, (15.33,-1.935)))
vco_core_1.add(gdstk.Reference(via_16_12, (-5.395,4.38)))
vco_core_1.add(gdstk.Reference(via_9, (-5.395,4.38)))
vco_core_1.add(gdstk.Reference(via_16_12, (-5.395,-12.02)))
vco_core_1.add(gdstk.Reference(via_9, (-5.395,-12.02)))
vco_core_1.add(gdstk.Reference(via_11_4, (13.14,1.25), rotation=pi/2))
vco_core_1.add(gdstk.Reference(via_76, (13.145,1.25), rotation=pi/2))
vco_core_1.add(gdstk.Reference(via_11_4, (20.04,-10.5), rotation=pi/2))
vco_core_1.add(gdstk.Reference(via_76, (13.915,-2.385), rotation=pi))
vco_core_1.add(gdstk.Reference(via_76, (13.95,-5.51), rotation=pi/2))
vco_core_1.add(gdstk.Reference(via_76, (13.145,-10.27), rotation=pi/2))
vco_core_1.add(gdstk.Reference(via_11_4, (13.915,-2.385), rotation=pi))
vco_core_1.add(gdstk.Reference(pmos, (13.51,1.05)))
vco_core_1.add(gdstk.Reference(via_11_4, (20.03,-5.5), rotation=3*pi/2))
vco_core_1.add(gdstk.Label('out', (19.985,0.19), layer=10, texttype=25))
vco_core_1.add(gdstk.Label('in', (-12.92,-3.02), layer=10, texttype=25))
vco_core_1.add(gdstk.Label('in', (-12.97,-2.98), layer=10, texttype=25))
vco_core_1.add(gdstk.Label('en5', (15.74,-2.41), layer=8, texttype=25))
vco_core_1.add(gdstk.Label('nen5', (15.76,1.87), layer=8, texttype=25))
vco_core_1.add(gdstk.Label('en11', (13.925,-2.36), layer=8, texttype=25))
vco_core_1.add(gdstk.Label('nen11', (20.04,-10.48), layer=8, texttype=25))
vco_core_1.add(gdstk.Label('vp', (-8.07,4.4), layer=8, texttype=25))
vco_core_1.add(gdstk.Label('vp', (-7.61,-12.05), layer=8, texttype=25))
vco_core_1.add(gdstk.Label('gnd', (-8.07,-3.84), layer=8, texttype=25))
vco_core_1.add(gdstk.Label('en11', (20.04,-5.48), layer=8, texttype=25))

lib.write_gds('vco_core_1.gds')
